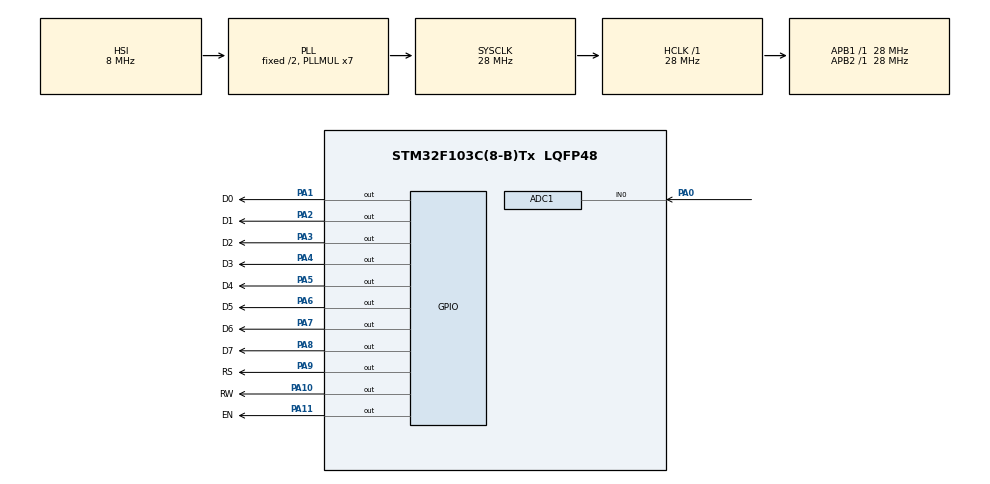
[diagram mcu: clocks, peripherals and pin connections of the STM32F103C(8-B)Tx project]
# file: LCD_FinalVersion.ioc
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ADC1.ContinuousConvMode=ENABLE
ADC1.EnableAnalogWatchDog=false
ADC1.InjNumberOfConversion=0
ADC1.NbrOfConversionFlag=1
ADC1.SamplingTime-0\#ChannelRegularConversion=ADC_SAMPLETIME_7CYCLES_5
ADC1.master=1
Mcu.Family=STM32F1
Mcu.Name=STM32F103C(8-B)Tx
Mcu.Package=LQFP48
NVIC.PriorityGroup=NVIC_PRIORITYGROUP_4
PA0-WKUP.Signal=ADCx_IN0
PA1.GPIO_Label=D0
PA1.GPIO_ModeDefaultOutputPP=GPIO_MODE_OUTPUT_PP
PA1.GPIO_Speed=GPIO_SPEED_LOW
PA1.Signal=GPIO_Output
PA10.GPIO_Label=RW
PA10.GPIO_ModeDefaultOutputPP=GPIO_MODE_OUTPUT_PP
PA10.GPIO_Speed=GPIO_SPEED_LOW
PA10.Signal=GPIO_Output
PA11.GPIO_Label=EN
PA11.GPIO_ModeDefaultOutputPP=GPIO_MODE_OUTPUT_PP
PA11.GPIO_Speed=GPIO_SPEED_LOW
PA11.Signal=GPIO_Output
PA2.GPIO_Label=D1
PA2.GPIO_ModeDefaultOutputPP=GPIO_MODE_OUTPUT_PP
PA2.GPIO_Speed=GPIO_SPEED_LOW
PA2.Signal=GPIO_Output
PA3.GPIO_Label=D2
PA3.GPIO_ModeDefaultOutputPP=GPIO_MODE_OUTPUT_PP
PA3.GPIO_Speed=GPIO_SPEED_LOW
PA3.Signal=GPIO_Output
PA4.GPIO_Label=D3
PA4.GPIO_ModeDefaultOutputPP=GPIO_MODE_OUTPUT_PP
PA4.GPIO_Speed=GPIO_SPEED_LOW
PA4.Signal=GPIO_Output
PA5.GPIO_Label=D4
PA5.GPIO_ModeDefaultOutputPP=GPIO_MODE_OUTPUT_PP
PA5.GPIO_Speed=GPIO_SPEED_LOW
PA5.Signal=GPIO_Output
PA6.GPIO_Label=D5
PA6.GPIO_ModeDefaultOutputPP=GPIO_MODE_OUTPUT_PP
PA6.GPIO_Speed=GPIO_SPEED_LOW
PA6.Signal=GPIO_Output
PA7.GPIO_Label=D6
PA7.GPIO_ModeDefaultOutputPP=GPIO_MODE_OUTPUT_PP
PA7.GPIO_Speed=GPIO_SPEED_LOW
PA7.Signal=GPIO_Output
PA8.GPIO_Label=D7
PA8.GPIO_ModeDefaultOutputPP=GPIO_MODE_OUTPUT_PP
PA8.GPIO_Speed=GPIO_SPEED_LOW
PA8.Signal=GPIO_Output
PA9.GPIO_Label=RS
PA9.GPIO_ModeDefaultOutputPP=GPIO_MODE_OUTPUT_PP
PA9.GPIO_Speed=GPIO_SPEED_LOW
PA9.Signal=GPIO_Output
ProjectManager.TargetToolchain=MDK-ARM V5
RCC.AHBFreq_Value=28000000
RCC.APB1Freq_Value=28000000
RCC.APB1TimFreq_Value=28000000
RCC.APB2Freq_Value=28000000
RCC.APB2TimFreq_Value=28000000
RCC.HCLKFreq_Value=28000000
RCC.PLLMUL=RCC_PLL_MUL7
RCC.SYSCLKFreq_VALUE=28000000
RCC.SYSCLKSource=RCC_SYSCLKSOURCE_PLLCLK
RCC.USBFreq_Value=28000000
SH.ADCx_IN0.0=ADC1_IN0,IN0

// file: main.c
/**
  ******************************************************************************
  * File Name          : main.c
  * Date               : 16/09/2020 21:41:14
  * Description        : Main program body
  ******************************************************************************
  *
  * COPYRIGHT(c) 2020 STMicroelectronics
  *
  * Redistribution and use in source and binary forms, with or without modification,
  * are permitted provided that the following conditions are met:
  *   1. Redistributions of source code must retain the above copyright notice,
  *      this list of conditions and the following disclaimer.
  *   2. Redistributions in binary form must reproduce the above copyright notice,
  *      this list of conditions and the following disclaimer in the documentation
  *      and/or other materials provided with the distribution.
  *   3. Neither the name of STMicroelectronics nor the names of its contributors
  *      may be used to endorse or promote products derived from this software
  *      without specific prior written permission.
  *
  * THIS SOFTWARE IS PROVIDED BY THE COPYRIGHT HOLDERS AND CONTRIBUTORS "AS IS"
  * AND ANY EXPRESS OR IMPLIED WARRANTIES, INCLUDING, BUT NOT LIMITED TO, THE
  * IMPLIED WARRANTIES OF MERCHANTABILITY AND FITNESS FOR A PARTICULAR PURPOSE ARE
  * DISCLAIMED. IN NO EVENT SHALL THE COPYRIGHT HOLDER OR CONTRIBUTORS BE LIABLE
  * FOR ANY DIRECT, INDIRECT, INCIDENTAL, SPECIAL, EXEMPLARY, OR CONSEQUENTIAL
  * DAMAGES (INCLUDING, BUT NOT LIMITED TO, PROCUREMENT OF SUBSTITUTE GOODS OR
  * SERVICES; LOSS OF USE, DATA, OR PROFITS; OR BUSINESS INTERRUPTION) HOWEVER
  * CAUSED AND ON ANY THEORY OF LIABILITY, WHETHER IN CONTRACT, STRICT LIABILITY,
  * OR TORT (INCLUDING NEGLIGENCE OR OTHERWISE) ARISING IN ANY WAY OUT OF THE USE
  * OF THIS SOFTWARE, EVEN IF ADVISED OF THE POSSIBILITY OF SUCH DAMAGE.
  *
  ******************************************************************************
  */

#include "stm32f1xx_hal.h"

/* USER CODE BEGIN Includes */
#include "lcd.h"
#include<stdio.h>
float value;
char text[16];
/* USER CODE END Includes */

ADC_HandleTypeDef hadc1;

void SystemClock_Config(void);
static void MX_GPIO_Init(void);
static void MX_ADC1_Init(void);

int main(void)
{

  /* MCU Configuration----------------------------------------------------------*/

  /* Reset of all peripherals, Initializes the Flash interface and the Systick. */
  HAL_Init();

  /* Configure the system clock */
  SystemClock_Config();

  /* Initialize all configured peripherals */
  MX_GPIO_Init();
  MX_ADC1_Init();

  /* USER CODE BEGIN 2 */
	lcd_init();
	lcd_gotoxy(0,0);
	lcd_puts("Temperature");
	lcd_gotoxy(0,1);
	lcd_puts("        sensor");
	HAL_Delay(1000);
  /* USER CODE END 2 */

  /* Infinite loop */
  /* USER CODE BEGIN WHILE */
  while (1)
  {
		hadc1.Init.NbrOfConversion = 1;
		HAL_ADC_Init(&hadc1);
		HAL_ADC_Start(&hadc1);
		if (HAL_ADC_PollForConversion(&hadc1,300) == HAL_OK)
		{
			value = HAL_ADC_GetValue(&hadc1);
			value = value*(3.3/4095);
			value *=100;
			lcd_clear();
			sprintf(text,"Temp is: %0.2f",value);
			lcd_puts(text);
		}
		else
		{
			lcd_clear();
			lcd_gotoxy(0,0);
			lcd_puts("Error reading");
			lcd_gotoxy(0,1);
			lcd_puts("the sensor.");
			//HAL_Delay(100);
		}
		HAL_ADC_Stop(&hadc1);
		HAL_Delay(400);
  /* USER CODE END WHILE */

  }

}

/** System Clock Configuration
*/
void SystemClock_Config(void)
{

  RCC_OscInitTypeDef RCC_OscInitStruct;
  RCC_ClkInitTypeDef RCC_ClkInitStruct;
  RCC_PeriphCLKInitTypeDef PeriphClkInit;

  RCC_OscInitStruct.OscillatorType = RCC_OSCILLATORTYPE_HSI;
  RCC_OscInitStruct.HSIState = RCC_HSI_ON;
  RCC_OscInitStruct.HSICalibrationValue = 16;
  RCC_OscInitStruct.PLL.PLLState = RCC_PLL_ON;
  RCC_OscInitStruct.PLL.PLLSource = RCC_PLLSOURCE_HSI_DIV2;
  RCC_OscInitStruct.PLL.PLLMUL = RCC_PLL_MUL7;
  HAL_RCC_OscConfig(&RCC_OscInitStruct);

  RCC_ClkInitStruct.ClockType = RCC_CLOCKTYPE_SYSCLK;
  RCC_ClkInitStruct.SYSCLKSource = RCC_SYSCLKSOURCE_PLLCLK;
  RCC_ClkInitStruct.AHBCLKDivider = RCC_SYSCLK_DIV1;
  RCC_ClkInitStruct.APB1CLKDivider = RCC_HCLK_DIV1;
  RCC_ClkInitStruct.APB2CLKDivider = RCC_HCLK_DIV1;
  HAL_RCC_ClockConfig(&RCC_ClkInitStruct, FLASH_LATENCY_1);

  PeriphClkInit.PeriphClockSelection = RCC_PERIPHCLK_ADC;
  PeriphClkInit.AdcClockSelection = RCC_ADCPCLK2_DIV2;
  HAL_RCCEx_PeriphCLKConfig(&PeriphClkInit);

}

/* ADC1 init function */
void MX_ADC1_Init(void)
{

  ADC_ChannelConfTypeDef sConfig;

    /**Common config
    */
  hadc1.Instance = ADC1;
  hadc1.Init.ScanConvMode = ADC_SCAN_DISABLE;
  hadc1.Init.ContinuousConvMode = ENABLE;
  hadc1.Init.DiscontinuousConvMode = DISABLE;
  hadc1.Init.ExternalTrigConv = ADC_SOFTWARE_START;
  hadc1.Init.DataAlign = ADC_DATAALIGN_RIGHT;
  hadc1.Init.NbrOfConversion = 1;
  HAL_ADC_Init(&hadc1);

    /**Configure Regular Channel
    */
  sConfig.Channel = ADC_CHANNEL_0;
  sConfig.Rank = 1;
  sConfig.SamplingTime = ADC_SAMPLETIME_7CYCLES_5;
  HAL_ADC_ConfigChannel(&hadc1, &sConfig);

}

/** Configure pins as
        * Analog
        * Input
        * Output
        * EVENT_OUT
        * EXTI
*/
void MX_GPIO_Init(void)
{

  GPIO_InitTypeDef GPIO_InitStruct;

  /* GPIO Ports Clock Enable */
  __GPIOA_CLK_ENABLE();

  /*Configure GPIO pins : PA1 PA2 PA3 PA4
                           PA5 PA6 PA7 PA8
                           PA9 PA10 PA11 */
  GPIO_InitStruct.Pin = GPIO_PIN_1|GPIO_PIN_2|GPIO_PIN_3|GPIO_PIN_4
                          |GPIO_PIN_5|GPIO_PIN_6|GPIO_PIN_7|GPIO_PIN_8
                          |GPIO_PIN_9|GPIO_PIN_10|GPIO_PIN_11;
  GPIO_InitStruct.Mode = GPIO_MODE_OUTPUT_PP;
  GPIO_InitStruct.Speed = GPIO_SPEED_LOW;
  HAL_GPIO_Init(GPIOA, &GPIO_InitStruct);

}

/************************ (C) COPYRIGHT STMicroelectronics *****END OF FILE****/
